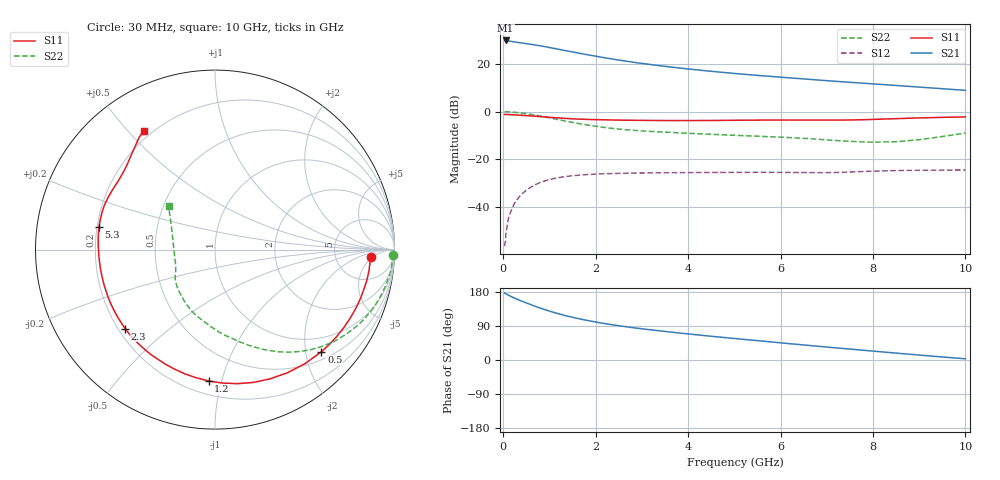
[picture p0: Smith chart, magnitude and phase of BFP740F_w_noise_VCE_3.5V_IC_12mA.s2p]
! (c) 2012  Infineon Technologies AG, Munich
! Infineon Technologies  Discrete & RF Semiconductors
! BFP740F
! VCE =  3.5 V,  IC =  12 mA
! Common Emitter S-Parameters:  Oct 2012
# GHz  S  MA  R  50
!  f  S11  S21  S12  S22
! GHz  MAG  ANG  MAG  ANG  MAG  ANG  MAG  ANG
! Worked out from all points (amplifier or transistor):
!   99 points, 30 MHz to 10 GHz, reference 50 ohm
!   highest |S21| = 29.8 dB at 50 MHz (marker M1)
!   |S21| within 3 dB of that: start of sweep to 1.011 GHz
!   unconditionally stable (mu >= 1): 6.463 GHz to end of sweep
!   at 350 MHz: K = 0.11, MSG = 32.3 dB, |S12| = -35.7 dB
!   at 3.5 GHz: K = 0.54, MSG = 22.3 dB, |S12| = -25.7 dB
!   at 10 GHz: K = 1.25, MAG = 13.7 dB, |S12| = -24.5 dB
!   lowest NFmin = 0.48 dB at 450 MHz
!   S11 on the Smith chart (normalised r, x): 30 MHz: 13, -4; 500 MHz: 0.66, -2.33; 1.2 GHz: 0.29, -0.91; 2.3 GHz: 0.23, -0.36; 5.3 GHz: 0.21, +0.09; 10 GHz: 0.17, +0.55
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0.03  0.8683 -2.8  30.79 176.7  0.0015 84.4  0.9901 -1.6
0.05  0.8665 -4.6  30.93 175.4  0.0019 92.6  0.9898 -2.8
0.15  0.8598 -13.9  29.87 168.7  0.0073 81.7  0.9803 -8.9
0.25  0.8501 -22.7  28.83 163.0  0.0122 76.8  0.9625 -14.6
0.4  0.8332 -35.6  27.46 155.3  0.0186 70.8  0.9281 -22.6
0.5  0.8218 -43.8  26.55 150.6  0.0224 66.2  0.9017 -27.7
0.6  0.8095 -51.7  25.64 145.9  0.026 62.4  0.8713 -32.6
0.8  0.7827 -67.0  23.92 137.0  0.0325 54.7  0.8065 -41.8
1  0.7574 -80.5  22.01 129.0  0.0374 48.2  0.7389 -50.2
1.2  0.7327 -92.8  20.19 121.9  0.0411 42.7  0.6741 -57.7
1.4  0.7124 -103.6  18.52 115.5  0.0438 37.7  0.6168 -64.3
1.7  0.6889 -117.5  16.32 107.3  0.0468 32.2  0.5445 -73.2
2  0.676 -129.1  14.49 100.3  0.0488 27.7  0.491 -81.4
2.3  0.6667 -138.7  12.9 94.1  0.0498 24.0  0.4494 -89.0
2.8  0.6551 -151.3  10.87 85.5  0.0511 19.8  0.4045 -98.9
3.4  0.648 -163.3  9.109 76.7  0.0519 16.2  0.3735 -108.4
4.2  0.6474 -176.0  7.465 66.3  0.0525 13.3  0.343 -117.7
5.1  0.6565 171.5  6.174 55.6  0.0529 11.0  0.3138 -127.9
5.3  0.6581 169.0  5.946 53.3  0.0529 10.5  0.3081 -130.1
6.7  0.6613 151.4  4.665 37.5  0.0523 9.5  0.2665 -146.3
8.5  0.7088 130.7  3.519 18.2  0.0577 10.0  0.2326 174.3
10  0.7722 121.0  2.78 3.2  0.0594 6.9  0.3531 137.1
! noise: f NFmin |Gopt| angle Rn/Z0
0.45  0.48  0.16  5  0.24
0.9  0.53  0.17  13  0.13
1.5  0.6  0.18  23  0.06
1.9  0.64  0.17  33  0.05
2.4  0.69  0.17  47  0.05
3.5  0.8  0.14  69  0.13
5.5  0.99  0.09  140  0.21
10  1.39  0.38  -115  0.11
